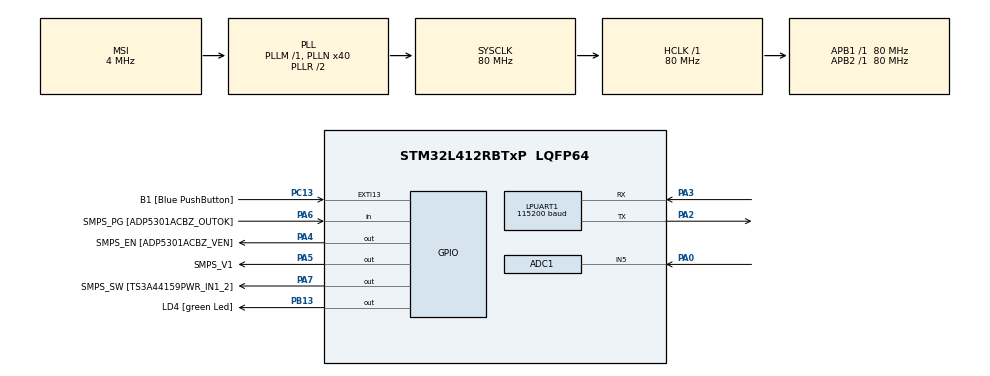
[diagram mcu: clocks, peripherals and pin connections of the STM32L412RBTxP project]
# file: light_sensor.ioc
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ADC1.Channel-0\#ChannelRegularConversion=ADC_CHANNEL_5
ADC1.NbrOfConversionFlag=1
ADC1.SamplingTime-0\#ChannelRegularConversion=ADC_SAMPLETIME_247CYCLES_5
ADC1.master=1
LPUART1.BaudRate=115200
LPUART1.WordLength=UART_WORDLENGTH_8B
Mcu.Family=STM32L4
Mcu.Name=STM32L412RBTxP
Mcu.Package=LQFP64
NVIC.PriorityGroup=NVIC_PRIORITYGROUP_4
PA0.Signal=ADCx_IN5
PA13\ (JTMS/SWDIO).GPIO_Label=TMS
PA13\ (JTMS/SWDIO).Mode=Serial_Wire
PA13\ (JTMS/SWDIO).Signal=SYS_JTMS-SWDIO
PA14\ (JTCK/SWCLK).GPIO_Label=TCK
PA14\ (JTCK/SWCLK).Mode=Serial_Wire
PA14\ (JTCK/SWCLK).Signal=SYS_JTCK-SWCLK
PA2.Mode=Asynchronous
PA2.Signal=LPUART1_TX
PA3.Mode=Asynchronous
PA3.Signal=LPUART1_RX
PA4.GPIO_Label=SMPS_EN [ADP5301ACBZ_VEN]
PA4.Signal=GPIO_Output
PA5.GPIO_Label=SMPS_V1
PA5.GPIO_ModeDefaultOutputPP=GPIO_MODE_OUTPUT_PP
PA5.GPIO_PuPd=GPIO_NOPULL
PA5.GPIO_Speed=GPIO_SPEED_FREQ_LOW
PA5.Signal=GPIO_Output
PA6.GPIO_Label=SMPS_PG [ADP5301ACBZ_OUTOK]
PA6.GPIO_PuPd=GPIO_PULLUP
PA6.Signal=GPIO_Input
PA7.GPIO_Label=SMPS_SW [TS3A44159PWR_IN1_2]
PA7.Signal=GPIO_Output
PB13.GPIO_Label=LD4 [green Led]
PB13.Signal=GPIO_Output
PB3\ (JTDO/TRACESWO).GPIO_Label=SWO
PB3\ (JTDO/TRACESWO).Signal=SYS_JTDO-SWO
PC13.GPIO_Label=B1 [Blue PushButton]
PC13.GPIO_ModeDefaultEXTI=GPIO_MODE_IT_FALLING
PC13.GPIO_PuPd=GPIO_NOPULL
PC13.Signal=GPXTI13
PC14-OSC32_IN\ (PC14).Mode=LSE-External-Oscillator
PC14-OSC32_IN\ (PC14).Signal=RCC_OSC32_IN
PC15-OSC32_OUT\ (PC15).Mode=LSE-External-Oscillator
PC15-OSC32_OUT\ (PC15).Signal=RCC_OSC32_OUT
PH0-OSC_IN\ (PH0).GPIO_Label=MCO
PH0-OSC_IN\ (PH0).Mode=HSE-External-Clock-Source
PH0-OSC_IN\ (PH0).Signal=RCC_OSC_IN
PH1-OSC_OUT\ (PH1).Signal=RCC_OSC_OUT
ProjectManager.HeapSize=0x200
ProjectManager.StackSize=0x400
ProjectManager.TargetToolchain=STM32CubeIDE
RCC.ADCFreq_Value=80000000
RCC.AHBFreq_Value=80000000
RCC.APB1Freq_Value=80000000
RCC.APB1TimFreq_Value=80000000
RCC.APB2Freq_Value=80000000
RCC.APB2TimFreq_Value=80000000
RCC.CortexFreq_Value=80000000
RCC.FLatency=FLASH_LATENCY_4
RCC.HCLKFreq_Value=80000000
RCC.HSE_VALUE=8000000
RCC.HSI48_VALUE=48000000
RCC.HSICalibrationValue=64
RCC.HSI_VALUE=16000000
RCC.MSIAutoCalibration=DISABLED
RCC.MSI_VALUE=4000000
RCC.PLLN=40
RCC.PREFETCH_ENABLE=1
RCC.SYSCLKFreq_VALUE=80000000
RCC.SYSCLKSource=RCC_SYSCLKSOURCE_PLLCLK
RCC.USBFreq_Value=4000000
RCC.VCOOutputFreq_Value=160000000
SH.ADCx_IN5.0=ADC1_IN5,IN5-Single-Ended
board=NUCLEO-L412RB-P

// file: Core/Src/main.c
/* USER CODE BEGIN Header */
/**
  ******************************************************************************
  * @file           : main.c
  * @brief          : Main program body
  ******************************************************************************
  * @attention
  *
  * Copyright (c) 2026 STMicroelectronics.
  * All rights reserved.
  *
  * This software is licensed under terms that can be found in the LICENSE file
  * in the root directory of this software component.
  * If no LICENSE file comes with this software, it is provided AS-IS.
  *
  ******************************************************************************
  */
/* USER CODE END Header */
#include "main.h"

/* USER CODE BEGIN Includes */
//add
#include <stdio.h>
#include <string.h>
/* USER CODE END Includes */

ADC_HandleTypeDef hadc1;

UART_HandleTypeDef hlpuart1;

void SystemClock_Config(void);
static void MX_GPIO_Init(void);
static void MX_ADC1_Init(void);
static void MX_LPUART1_UART_Init(void);

/* USER CODE BEGIN 0 */
//add
// main 문 이전의 선언 - UART 출력 하기 위한 구조 설정 : printf 를 UART로 보내기 위한 과정
// 선언하는 요소 및 왜 선언했는지 정의 하는 곳 찾기
int _write(int file, char *ptr, int len)
{
  HAL_UART_Transmit(&hlpuart1, (uint8_t*)ptr, len, HAL_MAX_DELAY);
  return len;
}

// ADC 한 번 읽는 함수
static uint16_t adc_read_once(void)
{
  uint16_t raw = 0;

  HAL_ADC_Start(&hadc1);

  if (HAL_ADC_PollForConversion(&hadc1, 10) == HAL_OK)
  {
    raw = (uint16_t)HAL_ADC_GetValue(&hadc1);
  }

  HAL_ADC_Stop(&hadc1);
  return raw;
}

/* USER CODE END 0 */

int main(void)
{

  /* MCU Configuration--------------------------------------------------------*/

  /* Reset of all peripherals, Initializes the Flash interface and the Systick. */
  HAL_Init();

  /* Configure the system clock */
  SystemClock_Config();

  /* Initialize all configured peripherals */
  MX_GPIO_Init();
  MX_ADC1_Init();
  MX_LPUART1_UART_Init();

  /* Infinite loop */
  /* USER CODE BEGIN WHILE */
  while (1)
  {
    //add
    uint16_t raw = adc_read_once();
    float voltage = (raw * 3.3f) / 4095.0f ;

    printf("[CDS] raw=%u, voltage=%.2fV\r\n", raw, voltage);

    HAL_Delay(200);
    /* USER CODE END WHILE */

  }
}

void SystemClock_Config(void)
{
  RCC_OscInitTypeDef RCC_OscInitStruct = {0};
  RCC_ClkInitTypeDef RCC_ClkInitStruct = {0};

  /** Configure the main internal regulator output voltage
  */
  if (HAL_PWREx_ControlVoltageScaling(PWR_REGULATOR_VOLTAGE_SCALE1) != HAL_OK)
  {
    Error_Handler();
  }

  /** Initializes the RCC Oscillators according to the specified parameters
  * in the RCC_OscInitTypeDef structure.
  */
  RCC_OscInitStruct.OscillatorType = RCC_OSCILLATORTYPE_MSI;
  RCC_OscInitStruct.MSIState = RCC_MSI_ON;
  RCC_OscInitStruct.MSICalibrationValue = 0;
  RCC_OscInitStruct.MSIClockRange = RCC_MSIRANGE_6;
  RCC_OscInitStruct.PLL.PLLState = RCC_PLL_ON;
  RCC_OscInitStruct.PLL.PLLSource = RCC_PLLSOURCE_MSI;
  RCC_OscInitStruct.PLL.PLLM = 1;
  RCC_OscInitStruct.PLL.PLLN = 40;
  RCC_OscInitStruct.PLL.PLLQ = RCC_PLLQ_DIV2;
  RCC_OscInitStruct.PLL.PLLR = RCC_PLLR_DIV2;
  if (HAL_RCC_OscConfig(&RCC_OscInitStruct) != HAL_OK)
  {
    Error_Handler();
  }

  /** Initializes the CPU, AHB and APB buses clocks
  */
  RCC_ClkInitStruct.ClockType = RCC_CLOCKTYPE_HCLK|RCC_CLOCKTYPE_SYSCLK
                              |RCC_CLOCKTYPE_PCLK1|RCC_CLOCKTYPE_PCLK2;
  RCC_ClkInitStruct.SYSCLKSource = RCC_SYSCLKSOURCE_PLLCLK;
  RCC_ClkInitStruct.AHBCLKDivider = RCC_SYSCLK_DIV1;
  RCC_ClkInitStruct.APB1CLKDivider = RCC_HCLK_DIV1;
  RCC_ClkInitStruct.APB2CLKDivider = RCC_HCLK_DIV1;

  if (HAL_RCC_ClockConfig(&RCC_ClkInitStruct, FLASH_LATENCY_4) != HAL_OK)
  {
    Error_Handler();
  }
}

static void MX_ADC1_Init(void)
{

  ADC_MultiModeTypeDef multimode = {0};
  ADC_ChannelConfTypeDef sConfig = {0};

  /** Common config
  */
  hadc1.Instance = ADC1;
  hadc1.Init.ClockPrescaler = ADC_CLOCK_ASYNC_DIV1;
  hadc1.Init.Resolution = ADC_RESOLUTION_12B;
  hadc1.Init.DataAlign = ADC_DATAALIGN_RIGHT;
  hadc1.Init.ScanConvMode = ADC_SCAN_DISABLE;
  hadc1.Init.EOCSelection = ADC_EOC_SINGLE_CONV;
  hadc1.Init.LowPowerAutoWait = DISABLE;
  hadc1.Init.ContinuousConvMode = DISABLE;
  hadc1.Init.NbrOfConversion = 1;
  hadc1.Init.DiscontinuousConvMode = DISABLE;
  hadc1.Init.ExternalTrigConv = ADC_SOFTWARE_START;
  hadc1.Init.ExternalTrigConvEdge = ADC_EXTERNALTRIGCONVEDGE_NONE;
  hadc1.Init.DMAContinuousRequests = DISABLE;
  hadc1.Init.Overrun = ADC_OVR_DATA_PRESERVED;
  hadc1.Init.OversamplingMode = DISABLE;
  if (HAL_ADC_Init(&hadc1) != HAL_OK)
  {
    Error_Handler();
  }

  /** Configure the ADC multi-mode
  */
  multimode.Mode = ADC_MODE_INDEPENDENT;
  if (HAL_ADCEx_MultiModeConfigChannel(&hadc1, &multimode) != HAL_OK)
  {
    Error_Handler();
  }

  /** Configure Regular Channel
  */
  sConfig.Channel = ADC_CHANNEL_5;
  sConfig.Rank = ADC_REGULAR_RANK_1;
  sConfig.SamplingTime = ADC_SAMPLETIME_247CYCLES_5;
  sConfig.SingleDiff = ADC_SINGLE_ENDED;
  sConfig.OffsetNumber = ADC_OFFSET_NONE;
  sConfig.Offset = 0;
  if (HAL_ADC_ConfigChannel(&hadc1, &sConfig) != HAL_OK)
  {
    Error_Handler();
  }

}

static void MX_LPUART1_UART_Init(void)
{

  hlpuart1.Instance = LPUART1;
  hlpuart1.Init.BaudRate = 115200;
  hlpuart1.Init.WordLength = UART_WORDLENGTH_8B;
  hlpuart1.Init.StopBits = UART_STOPBITS_1;
  hlpuart1.Init.Parity = UART_PARITY_NONE;
  hlpuart1.Init.Mode = UART_MODE_TX_RX;
  hlpuart1.Init.HwFlowCtl = UART_HWCONTROL_NONE;
  hlpuart1.Init.OneBitSampling = UART_ONE_BIT_SAMPLE_DISABLE;
  hlpuart1.AdvancedInit.AdvFeatureInit = UART_ADVFEATURE_NO_INIT;
  if (HAL_UART_Init(&hlpuart1) != HAL_OK)
  {
    Error_Handler();
  }

}

static void MX_GPIO_Init(void)
{
  GPIO_InitTypeDef GPIO_InitStruct = {0};

  /* GPIO Ports Clock Enable */
  __HAL_RCC_GPIOC_CLK_ENABLE();
  __HAL_RCC_GPIOH_CLK_ENABLE();
  __HAL_RCC_GPIOA_CLK_ENABLE();
  __HAL_RCC_GPIOB_CLK_ENABLE();

  /*Configure GPIO pin Output Level */
  HAL_GPIO_WritePin(GPIOA, SMPS_EN_Pin|SMPS_V1_Pin|SMPS_SW_Pin, GPIO_PIN_RESET);

  /*Configure GPIO pin Output Level */
  HAL_GPIO_WritePin(LD4_GPIO_Port, LD4_Pin, GPIO_PIN_RESET);

  /*Configure GPIO pin : B1_Pin */
  GPIO_InitStruct.Pin = B1_Pin;
  GPIO_InitStruct.Mode = GPIO_MODE_IT_FALLING;
  GPIO_InitStruct.Pull = GPIO_NOPULL;
  HAL_GPIO_Init(B1_GPIO_Port, &GPIO_InitStruct);

  /*Configure GPIO pins : SMPS_EN_Pin SMPS_V1_Pin SMPS_SW_Pin */
  GPIO_InitStruct.Pin = SMPS_EN_Pin|SMPS_V1_Pin|SMPS_SW_Pin;
  GPIO_InitStruct.Mode = GPIO_MODE_OUTPUT_PP;
  GPIO_InitStruct.Pull = GPIO_NOPULL;
  GPIO_InitStruct.Speed = GPIO_SPEED_FREQ_LOW;
  HAL_GPIO_Init(GPIOA, &GPIO_InitStruct);

  /*Configure GPIO pin : SMPS_PG_Pin */
  GPIO_InitStruct.Pin = SMPS_PG_Pin;
  GPIO_InitStruct.Mode = GPIO_MODE_INPUT;
  GPIO_InitStruct.Pull = GPIO_PULLUP;
  HAL_GPIO_Init(SMPS_PG_GPIO_Port, &GPIO_InitStruct);

  /*Configure GPIO pin : LD4_Pin */
  GPIO_InitStruct.Pin = LD4_Pin;
  GPIO_InitStruct.Mode = GPIO_MODE_OUTPUT_PP;
  GPIO_InitStruct.Pull = GPIO_NOPULL;
  GPIO_InitStruct.Speed = GPIO_SPEED_FREQ_LOW;
  HAL_GPIO_Init(LD4_GPIO_Port, &GPIO_InitStruct);

}

void Error_Handler(void)
{
  __disable_irq();
  while (1)
  {
  }
}
